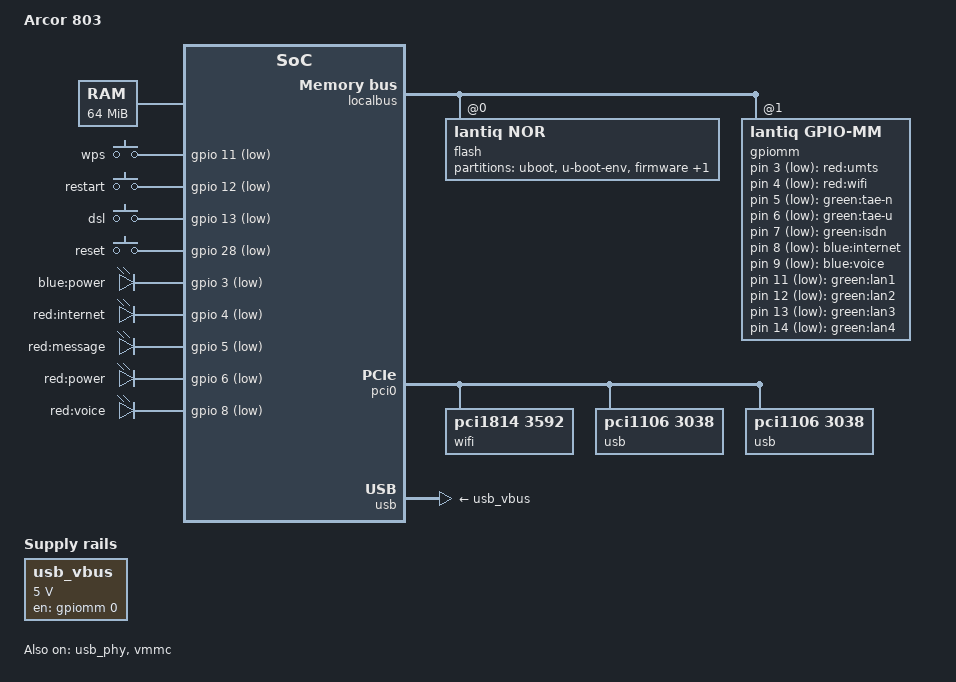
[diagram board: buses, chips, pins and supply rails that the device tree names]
#include "danube.dtsi"

#include <dt-bindings/input/input.h>

/ {
	compatible = "arcadyan,arv752dpw22", "lantiq,xway", "lantiq,danube";
	model = "Arcor 803";

	chosen {
		bootargs = "console=ttyLTQ0,115200";
	};

	aliases {
		led-boot = &power_red;
		led-failsafe = &power_blue;
		led-running = &power_red;
		led-upgrade = &power_red;

		led-dsl = &internet_red;
		led-wifi = &wifi;
	};

	memory@0 {
		device_type = "memory";
		reg = <0x0 0x4000000>;
	};

	keys {
		compatible = "gpio-keys-polled";
		poll-interval = <100>;

		wps {
			label = "wps";
			gpios = <&gpio 11 GPIO_ACTIVE_LOW>;
			linux,code = <KEY_WPS_BUTTON>;
		};
		restart {
			label = "restart";
			gpios = <&gpio 12 GPIO_ACTIVE_LOW>;
			linux,code = <KEY_POWER>;
		};
		dsl {
			label = "dsl";
			gpios = <&gpio 13 GPIO_ACTIVE_LOW>;
			linux,code = <BTN_0>;
		};
		reset {
			label = "reset";
			gpios = <&gpio 28 GPIO_ACTIVE_LOW>;
			linux,code = <KEY_RESTART>;
		};
	};

	leds {
		compatible = "gpio-leds";
		power_blue: power1 {
			label = "blue:power";
			gpios = <&gpio 3 GPIO_ACTIVE_LOW>;
		};
		internet_red: internet {
			label = "red:internet";
			gpios = <&gpio 4 GPIO_ACTIVE_LOW>;
		};
		message {
			label = "red:message";
			gpios = <&gpio 5 GPIO_ACTIVE_LOW>;
		};
		power_red: power {
			label = "red:power";
			gpios = <&gpio 6 GPIO_ACTIVE_LOW>;
			default-state = "keep";
		};
		voice1 {
			label = "red:voice";
			gpios = <&gpio 8 GPIO_ACTIVE_LOW>;
		};
		umts: umts {
			label = "red:umts";
			gpios = <&gpiomm 3 GPIO_ACTIVE_LOW>;
			trigger-sources = <&ehci_port1>,
					  <&ehci_port2>, <&uhci_port2>;
			linux,default-trigger = "usbport";
		};
		wifi: wifi {
			label = "red:wifi";
			gpios = <&gpiomm 4 GPIO_ACTIVE_LOW>;
		};
		fxs1 {
			label = "green:tae-n";
			gpios = <&gpiomm 5 GPIO_ACTIVE_LOW>;
		};
		fxs2 {
			label = "green:tae-u";
			gpios = <&gpiomm 6 GPIO_ACTIVE_LOW>;
		};
		fxo {
			label = "green:isdn";
			gpios = <&gpiomm 7 GPIO_ACTIVE_LOW>;
		};
		internet2 {
			label = "blue:internet";
			gpios = <&gpiomm 8 GPIO_ACTIVE_LOW>;
		};
		voice2 {
			label = "blue:voice";
			gpios = <&gpiomm 9 GPIO_ACTIVE_LOW>;
		};
		eth1 {
			 label = "green:lan1";
			 gpios = <&gpiomm 11 GPIO_ACTIVE_LOW>;
		};
		eth2 {
			label = "green:lan2";
			gpios = <&gpiomm 12 GPIO_ACTIVE_LOW>;
		};
		eth3 {
			label = "green:lan3";
			gpios = <&gpiomm 13 GPIO_ACTIVE_LOW>;
		};
		eth4 {
			label = "green:lan4";
			gpios = <&gpiomm 14 GPIO_ACTIVE_LOW>;
		};
	};

	usb_vbus: regulator-usb-vbus {
		compatible = "regulator-fixed";

		regulator-name = "USB_VBUS";

		regulator-min-microvolt = <5000000>;
		regulator-max-microvolt = <5000000>;

		gpio = <&gpiomm 0 GPIO_ACTIVE_HIGH>;
		enable-active-high;
	};
};

&gpio {
	pinctrl-names = "default";
	pinctrl-0 = <&state_default>;

	state_default: pinmux {
		ebu {
			lantiq,groups = "ebu cs1";
			lantiq,function = "ebu";
		};
		exin {
			lantiq,groups = "exin1";
			lantiq,function = "exin";
			lantiq,pull = <2>;
			lantiq,output = <0>;
		};
		pci_rst {
			lantiq,pins = "io21";
			lantiq,open-drain = <1>;
			lantiq,output = <1>;
		};
		leds {
			lantiq,pins = "io3", "io5", "io6", "io8";
			lantiq,open-drain = <1>;
			lantiq,output = <1>;
		};
		buttons {
			lantiq,pins = "io11", "io12", "io13", "io28";
			lantiq,pull = <2>;
			lantiq,output = <0>;
		};
	};
};

&gsw {
	phy-mode = "mii";
	nvmem-cells = <&macaddr_boardconfig_16>;
	nvmem-cell-names = "mac-address";
};

&localbus {
	flash@0 {
		compatible = "lantiq,nor";
		bank-width = <2>;
		reg = <0 0x0 0x800000>;

		partitions {
			compatible = "fixed-partitions";
			#address-cells = <1>;
			#size-cells = <1>;

			partition@0 {
				label = "uboot";
				reg = <0x00000 0x30000>;
				read-only;
			};

			partition@10000 {
				label = "u-boot-env";
				reg = <0x30000 0x10000>;
				read-only;
			};

			partition@20000 {
				label = "firmware";
				reg = <0x40000 0x7b0000>;
			};

			boardconfig: partition@7f0000 {
				label = "board_config";
				reg = <0x7f0000 0x10000>;
				read-only;
			};
		};
	};

	gpiomm: gpio@1 {
		compatible = "lantiq,gpio-mm";
		reg = <1 0x0 0x10 >;
		#address-cells = <1>;
		#size-cells = <1>;
		#gpio-cells = <2>;
		gpio-controller;
		lantiq,shadow = <3>;
	};
};

&pci0 {
	status = "okay";

	pinctrl-0 = <&pci_gnt1_pins>, <&pci_req1_pins>;
	pinctrl-names = "default";

	lantiq,external-clock;
	interrupt-map = <
		0x7000 0 0 1 &icu0 30
		0x7800 0 0 1 &icu0 135
		0x7800 0 0 2 &icu0 135
		0x7800 0 0 3 &icu0 135
	>;
	gpio-reset = <&gpio 21 GPIO_ACTIVE_HIGH>;
	req-mask = <0x3>;

	wifi@1814,3592 {
		compatible = "pci1814,3592";
		reg = <0x7000 0 0 0 0>;
		ralink,mtd-eeprom = <&boardconfig 0x410>;
		ralink,mtd-eeprom-swap;
		nvmem-cells = <&macaddr_boardconfig_16>;
		nvmem-cell-names = "mac-address";
	};

	usb@0f,0 {
		#address-cells = <1>;
		#size-cells = <0>;
		compatible = "pci1106,3038";
		reg = <0x7800 0 0 0 0>; /* 0000:00:0f.0: UHCI Host Controller */

		uhci_port2: port@2 {
			reg = <2>;
			#trigger-source-cells = <0>;
		};
	};

	usb@0f,2 {
		#address-cells = <1>;
		#size-cells = <0>;
		compatible = "pci1106,3038";
		reg = <0x7a00 0 0 0 0>; /* 0000:00:0f.2: EHCI Host Controller*/

		ehci_port2: port@2 {
			reg = <2>;
			#trigger-source-cells = <0>;
		};
	};
};

&usb_phy {
	status = "okay";
};

&usb {
	status = "okay";
	vbus-supply = <&usb_vbus>;
};

&vmmc {
	status = "okay";
	gpios = <&gpiomm 1 GPIO_ACTIVE_HIGH>;
};

&boardconfig {
	compatible = "nvmem-cells";
	#address-cells = <1>;
	#size-cells = <1>;

	macaddr_boardconfig_16: macaddr@16 {
		reg = <0x16 0x6>;
	};
};
